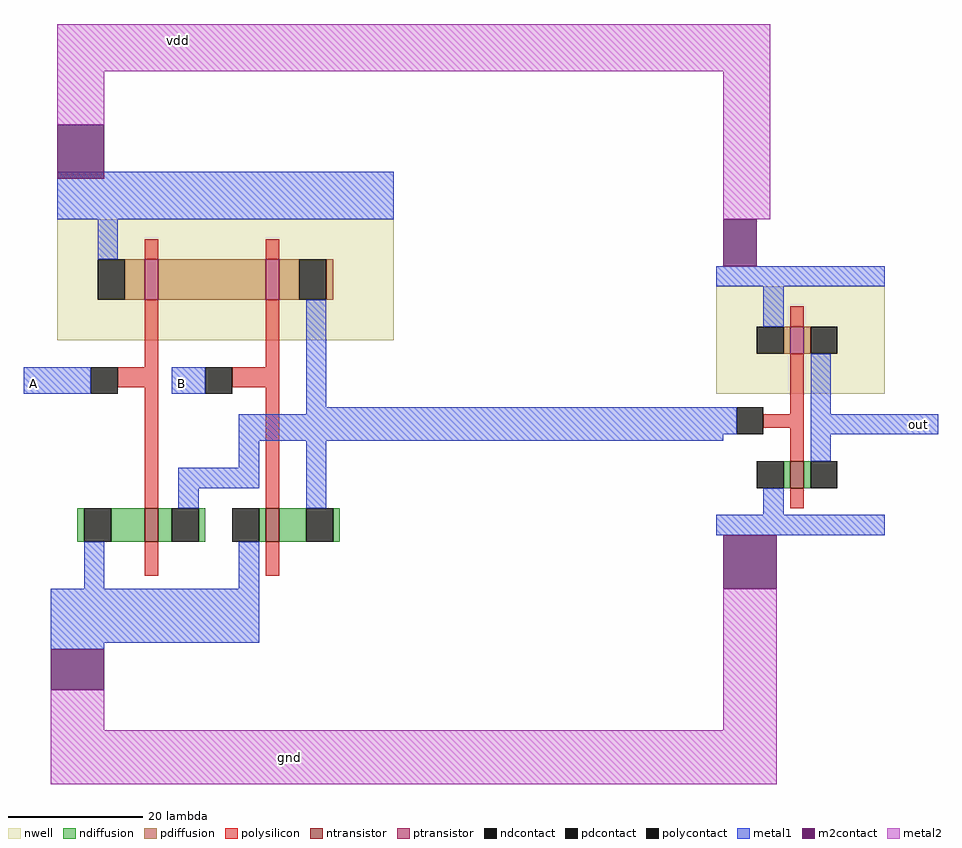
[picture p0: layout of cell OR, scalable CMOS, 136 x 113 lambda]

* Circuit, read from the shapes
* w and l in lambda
.subckt OR A B gnd out vdd
M1 not_0/in A gnd VSUBS nfet w=5 l=2
M2 not_0/in B gnd VSUBS nfet w=5 l=2
M3 out not_0/in gnd VSUBS nfet w=4 l=2
M4 n1 A vdd n2 pfet w=6 l=2
M5 not_0/in B n1 n2 pfet w=6 l=2
M6 out not_0/in vdd n3 pfet w=4 l=2
.ends

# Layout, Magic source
magic
tech scmos
<< metal1 >>
rect -4 37 4 41
rect 18 37 23 41
rect 47 30 100 35
rect 121 31 132 34
rect 0 -1 8 8
<< m2contact >>
rect 1 69 8 77
rect 100 56 105 63
rect 100 8 108 16
rect 0 -7 8 -1
<< metal2 >>
rect 1 85 107 92
rect 1 77 8 85
rect 100 63 107 85
rect 0 -13 8 -7
rect 100 -13 108 8
rect 0 -21 108 -13
use NOR  NOR_0
transform 1 0 20 0 1 44
box -20 -44 32 26
use not  not_0
transform 1 0 108 0 1 36
box -9 -20 16 20
<< labels >>
rlabel metal2 16 88 22 91 5 vdd
rlabel metal2 31 -19 40 -15 1 gnd
rlabel metal1 128 32 130 33 7 out
rlabel metal1 -3 38 -2 39 3 A
rlabel metal1 19 38 20 39 1 B
<< end >>

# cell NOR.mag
magic
tech scmos
<< nwell >>
rect -19 1 31 19
<< ntransistor >>
rect -6 -29 -4 -24
rect 12 -29 14 -24
<< ptransistor >>
rect -6 7 -4 13
rect 12 7 14 13
<< ndiffusion >>
rect -16 -29 -15 -24
rect -11 -29 -6 -24
rect -4 -29 -2 -24
rect 2 -29 3 -24
rect 11 -29 12 -24
rect 14 -29 18 -24
rect 22 -29 23 -24
<< pdiffusion >>
rect -9 7 -6 13
rect -4 7 12 13
rect 14 7 17 13
rect 21 7 22 13
<< ndcontact >>
rect -15 -29 -11 -24
rect -2 -29 2 -24
rect 7 -29 11 -24
rect 18 -29 22 -24
<< pdcontact >>
rect -13 7 -9 13
rect 17 7 21 13
<< polysilicon >>
rect -6 13 -4 16
rect 12 13 14 16
rect -6 -3 -4 7
rect 12 -3 14 7
rect -10 -6 -4 -3
rect -6 -24 -4 -6
rect 7 -6 14 -3
rect 12 -24 14 -6
rect -6 -34 -4 -29
rect 12 -34 14 -29
<< polycontact >>
rect -14 -7 -10 -3
rect 3 -7 7 -3
<< metal1 >>
rect -19 19 31 26
rect -13 13 -10 19
rect -20 -7 -14 -3
rect 0 -7 3 -3
rect 18 -9 21 7
rect 18 -10 32 -9
rect 8 -14 32 -10
rect 8 -18 11 -14
rect -1 -21 11 -18
rect -1 -24 2 -21
rect 18 -24 21 -14
rect -15 -36 -12 -29
rect 8 -36 11 -29
rect -20 -44 11 -36
<< labels >>
rlabel metal1 -16 22 -11 24 5 vdd
rlabel metal1 26 -13 31 -11 7 out
rlabel metal1 1 -6 2 -4 1 B
rlabel metal1 -19 -42 -13 -39 2 gnd
rlabel metal1 -17 -6 -15 -4 3 A
<< end >>

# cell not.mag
magic
tech scmos
<< nwell >>
rect -9 1 16 17
<< ntransistor >>
rect 2 -13 4 -9
<< ptransistor >>
rect 2 7 4 11
<< ndiffusion >>
rect 1 -13 2 -9
rect 4 -13 5 -9
<< pdiffusion >>
rect 1 7 2 11
rect 4 7 5 11
<< ndcontact >>
rect -3 -13 1 -9
rect 5 -13 9 -9
<< pdcontact >>
rect -3 7 1 11
rect 5 7 9 11
<< polysilicon >>
rect 2 11 4 14
rect 2 -2 4 7
rect -2 -4 4 -2
rect 2 -9 4 -4
rect 2 -16 4 -13
<< polycontact >>
rect -6 -5 -2 -1
<< metal1 >>
rect -9 17 16 20
rect -2 11 1 17
rect -8 -5 -6 -1
rect 5 -2 8 7
rect 5 -5 16 -2
rect 5 -9 8 -5
rect -2 -17 1 -13
rect -9 -20 16 -17
<< labels >>
rlabel metal1 -5 18 -3 19 4 VDD
rlabel metal1 -8 -4 -7 -2 3 in
rlabel metal1 13 -4 15 -3 7 out
rlabel metal1 -2 -19 0 -18 1 gnd
<< end >>
